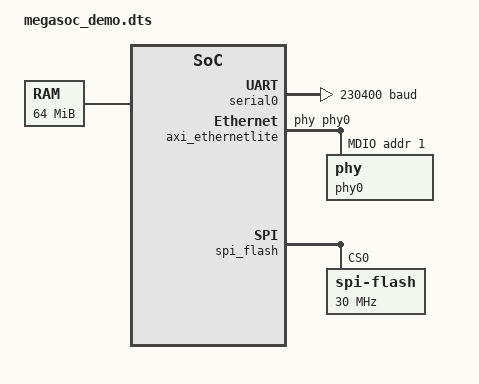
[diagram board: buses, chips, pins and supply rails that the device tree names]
/dts-v1/;

/ {
	#address-cells = <1>;
	#size-cells = <1>;
	compatible = "megasoc,demo";

	cpus {
		#address-cells = <1>;
		#size-cells = <0>;
		cpu@0 {
			device_type = "cpu";
			compatible = "mips,m14Kc";
			clocks	= <&ext>;
			reg = <0>;
		};
	};

	ext: ext {
		compatible = "fixed-clock";
		#clock-cells = <0>;
	};
	
	memory: memory@0 {
		device_type = "memory";
		reg = <0x0 0x4000000>;
	};

	cpuintc: interrupt-controller@bd000000 {
		#address-cells = <0>;
		#interrupt-cells = <1>;
        reg = <0xbd000000 0x20>;
		interrupt-controller;
		compatible = "mti,cpu-interrupt-controller";
	};

	bus_clk: bus_clk {
		compatible = "fixed-clock";
        clock-frequency = <166666666>;
		#clock-cells = <0>;
	};

	aliases {
		console = &serial0;
        serial = &serial0;
        eth = &axi_ethernetlite;
        mmc0 = &ocsdc0;
        spi0 = &spi_flash;
	};

	serial0: serial@bfe40000 {
		compatible = "ns16550";
		reg = <0xbfe40000 0x1000>;
        reg-offset = <0>;
        reg-shift = <0>;
        clocks = <&bus_clk>;
        current-speed = <230400>;
	};

	ocsdc0: ocsdc@bfe10000 {
		compatible = "opencores,ocsdc";
		reg = <0xbfe10000 0x1000>;
        clocks = <&bus_clk>;
	};

	axi_ethernetlite: ethernet@bff00000 {
		compatible = "xlnx,xps-ethernetlite-1.00.a";
		device_type = "network";
		local-mac-address = [19 98 00 01 00 29];
		phy-handle = <&phy0>;
		reg = <0xbff00000 0x10000>;
		xlnx,duplex = <0x1>;
		xlnx,include-global-buffers = <0x1>;
		xlnx,include-internal-loopback = <0x0>;
		xlnx,include-mdio = <0x1>;
		xlnx,instance = "axi_ethernetlite_inst";
		xlnx,rx-ping-pong = <0x1>;
		xlnx,s-axi-id-width = <0x1>;
		xlnx,tx-ping-pong = <0x1>;
		xlnx,use-internal = <0x0>;
		mdio {
				#address-cells = <1>;
				#size-cells = <0>;
				phy0: phy@1 {
						device_type = "ethernet-phy";
						reg = <1>;
				} ;
		} ;
	};

        spi_flash: spi@bc040000 {
                #address-cells = <1>;
                #size-cells = <0>;
                compatible = "loongson,spi";
                reg = <0xbfe80000 0x1000>;
                clocks = <&bus_clk>;

                spi-flash@0 {
                    compatible = "spi-flash", "jedec,spi-nor";
                    reg = <0>;
                    spi-max-frequency = <30000000>;
                };
        };
};

